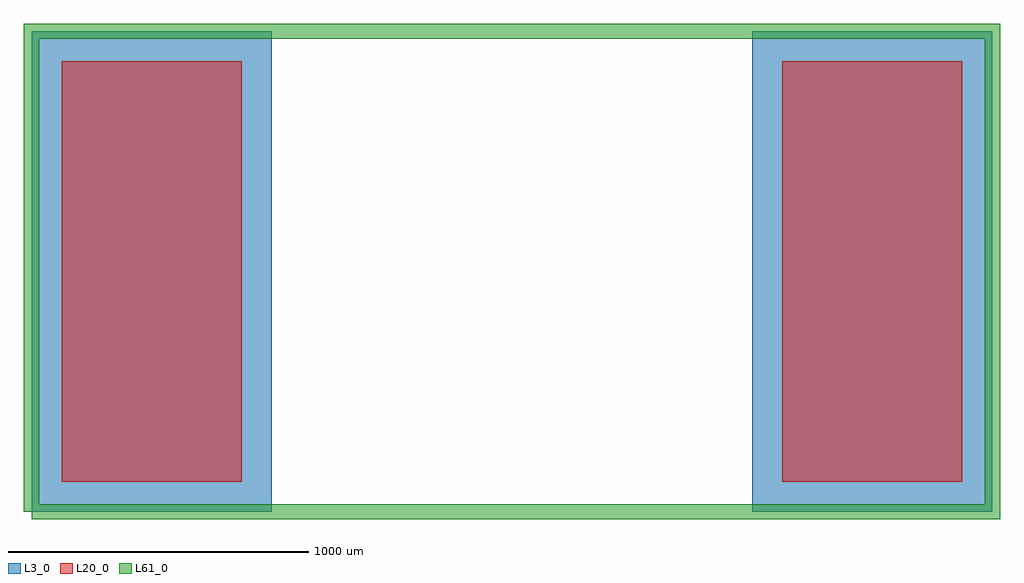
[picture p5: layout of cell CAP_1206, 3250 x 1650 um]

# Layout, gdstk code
import gdstk
lib = gdstk.Library(unit=1e-6, precision=1e-09)
def R(c, l, rs):  # rectangles x0, y0, x1, y1
    for r in rs: c.add(gdstk.rectangle(r[:2], r[2:], *l))
L3_0 = (3, 0)
L20_0 = (20, 0)
L61_0 = (61, 0)

cap_1206 = lib.new_cell('CAP_1206')
R(cap_1206, L3_0, [(0,0,800,1600), (2400,0,3200,1600)])
R(cap_1206, L20_0, [(100,100,700,1500), (2500,100,3100,1500)])
cap_1206.add(gdstk.FlexPath([(0,0),(3200,0),(3200,1600),(0,1600),(0,0)], 50, ends="flush", simple_path=True, layer=61, datatype=0))  # L61_0

lib.write_gds('CAP_1206.gds')
